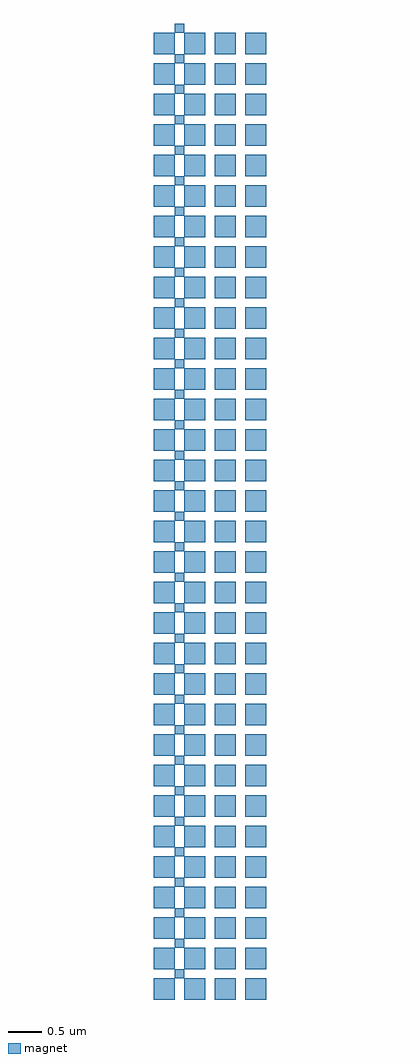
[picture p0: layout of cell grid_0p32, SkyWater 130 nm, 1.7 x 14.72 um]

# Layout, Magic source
magic
tech sky130A
<< magnet >>
rect 29 1450 43 1464
rect -3 1418 29 1450
rect 43 1418 75 1450
rect 89 1418 121 1450
rect 135 1418 167 1450
rect 29 1404 43 1418
rect -3 1372 29 1404
rect 43 1372 75 1404
rect 89 1372 121 1404
rect 135 1372 167 1404
rect 29 1358 43 1372
rect -3 1326 29 1358
rect 43 1326 75 1358
rect 89 1326 121 1358
rect 135 1326 167 1358
rect 29 1312 43 1326
rect -3 1280 29 1312
rect 43 1280 75 1312
rect 89 1280 121 1312
rect 135 1280 167 1312
rect 29 1266 43 1280
rect -3 1234 29 1266
rect 43 1234 75 1266
rect 89 1234 121 1266
rect 135 1234 167 1266
rect 29 1220 43 1234
rect -3 1188 29 1220
rect 43 1188 75 1220
rect 89 1188 121 1220
rect 135 1188 167 1220
rect 29 1174 43 1188
rect -3 1142 29 1174
rect 43 1142 75 1174
rect 89 1142 121 1174
rect 135 1142 167 1174
rect 29 1128 43 1142
rect -3 1096 29 1128
rect 43 1096 75 1128
rect 89 1096 121 1128
rect 135 1096 167 1128
rect 29 1082 43 1096
rect -3 1050 29 1082
rect 43 1050 75 1082
rect 89 1050 121 1082
rect 135 1050 167 1082
rect 29 1036 43 1050
rect -3 1004 29 1036
rect 43 1004 75 1036
rect 89 1004 121 1036
rect 135 1004 167 1036
rect 29 990 43 1004
rect -3 958 29 990
rect 43 958 75 990
rect 89 958 121 990
rect 135 958 167 990
rect 29 944 43 958
rect -3 912 29 944
rect 43 912 75 944
rect 89 912 121 944
rect 135 912 167 944
rect 29 898 43 912
rect -3 866 29 898
rect 43 866 75 898
rect 89 866 121 898
rect 135 866 167 898
rect 29 852 43 866
rect -3 820 29 852
rect 43 820 75 852
rect 89 820 121 852
rect 135 820 167 852
rect 29 806 43 820
rect -3 774 29 806
rect 43 774 75 806
rect 89 774 121 806
rect 135 774 167 806
rect 29 760 43 774
rect -3 728 29 760
rect 43 728 75 760
rect 89 728 121 760
rect 135 728 167 760
rect 29 714 43 728
rect -3 682 29 714
rect 43 682 75 714
rect 89 682 121 714
rect 135 682 167 714
rect 29 668 43 682
rect -3 636 29 668
rect 43 636 75 668
rect 89 636 121 668
rect 135 636 167 668
rect 29 622 43 636
rect -3 590 29 622
rect 43 590 75 622
rect 89 590 121 622
rect 135 590 167 622
rect 29 576 43 590
rect -3 544 29 576
rect 43 544 75 576
rect 89 544 121 576
rect 135 544 167 576
rect 29 530 43 544
rect -3 498 29 530
rect 43 498 75 530
rect 89 498 121 530
rect 135 498 167 530
rect 29 484 43 498
rect -3 452 29 484
rect 43 452 75 484
rect 89 452 121 484
rect 135 452 167 484
rect 29 438 43 452
rect -3 406 29 438
rect 43 406 75 438
rect 89 406 121 438
rect 135 406 167 438
rect 29 392 43 406
rect -3 360 29 392
rect 43 360 75 392
rect 89 360 121 392
rect 135 360 167 392
rect 29 346 43 360
rect -3 314 29 346
rect 43 314 75 346
rect 89 314 121 346
rect 135 314 167 346
rect 29 300 43 314
rect -3 268 29 300
rect 43 268 75 300
rect 89 268 121 300
rect 135 268 167 300
rect 29 254 43 268
rect -3 222 29 254
rect 43 222 75 254
rect 89 222 121 254
rect 135 222 167 254
rect 29 208 43 222
rect -3 176 29 208
rect 43 176 75 208
rect 89 176 121 208
rect 135 176 167 208
rect 29 162 43 176
rect -3 130 29 162
rect 43 130 75 162
rect 89 130 121 162
rect 135 130 167 162
rect 29 116 43 130
rect -3 84 29 116
rect 43 84 75 116
rect 89 84 121 116
rect 135 84 167 116
rect 29 70 43 84
rect -3 38 29 70
rect 43 38 75 70
rect 89 38 121 70
rect 135 38 167 70
rect 29 24 43 38
rect -3 -8 29 24
rect 43 -8 75 24
rect 89 -8 121 24
rect 135 -8 167 24
<< end >>
